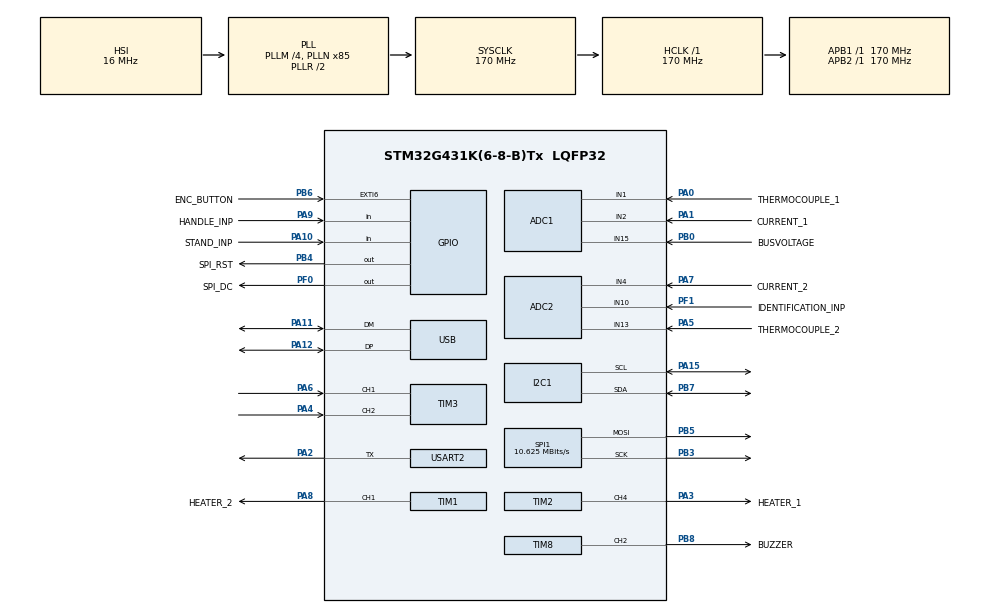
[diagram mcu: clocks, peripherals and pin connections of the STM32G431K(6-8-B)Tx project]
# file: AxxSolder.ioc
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ADC1.AWD1FilteringConfig=ADC_AWD_FILTERING_NONE
ADC1.AWD1HighThreshold=100
ADC1.AWD1ITMode=ENABLE
ADC1.Channel-0\#ChannelRegularConversion=ADC_CHANNEL_1
ADC1.Channel-1\#ChannelRegularConversion=ADC_CHANNEL_2
ADC1.Channel-2\#ChannelRegularConversion=ADC_CHANNEL_15
ADC1.ContinuousConvMode=ENABLE
ADC1.DMAContinuousRequests=ENABLE
ADC1.EnableAnalogWatchDog1=true
ADC1.NbrOfConversion=3
ADC1.NbrOfConversionFlag=1
ADC1.OffsetNumber-0\#ChannelRegularConversion=ADC_OFFSET_NONE
ADC1.OffsetNumber-1\#ChannelRegularConversion=ADC_OFFSET_NONE
ADC1.OffsetNumber-2\#ChannelRegularConversion=ADC_OFFSET_NONE
ADC1.OversamplingMode=DISABLE
ADC1.Rank-0\#ChannelRegularConversion=1
ADC1.Rank-1\#ChannelRegularConversion=2
ADC1.Rank-2\#ChannelRegularConversion=3
ADC1.SamplingTime-0\#ChannelRegularConversion=ADC_SAMPLETIME_47CYCLES_5
ADC1.SamplingTime-1\#ChannelRegularConversion=ADC_SAMPLETIME_47CYCLES_5
ADC1.SamplingTime-2\#ChannelRegularConversion=ADC_SAMPLETIME_47CYCLES_5
ADC1.WatchdogChannel=ADC_CHANNEL_2
ADC1.master=1
ADC2.Channel-0\#ChannelRegularConversion=ADC_CHANNEL_13
ADC2.NbrOfConversionFlag=1
ADC2.OffsetNumber-0\#ChannelRegularConversion=ADC_OFFSET_NONE
ADC2.Rank-0\#ChannelRegularConversion=1
ADC2.SamplingTime-0\#ChannelRegularConversion=ADC_SAMPLETIME_2CYCLES_5
Dma.ADC1.0.Direction=DMA_PERIPH_TO_MEMORY
Dma.ADC1.0.EventEnable=DISABLE
Dma.ADC1.0.Instance=DMA1_Channel1
Dma.ADC1.0.MemDataAlignment=DMA_MDATAALIGN_HALFWORD
Dma.ADC1.0.MemInc=DMA_MINC_ENABLE
Dma.ADC1.0.Mode=DMA_CIRCULAR
Dma.ADC1.0.PeriphDataAlignment=DMA_PDATAALIGN_HALFWORD
Dma.ADC1.0.PeriphInc=DMA_PINC_DISABLE
Dma.ADC1.0.Polarity=HAL_DMAMUX_REQ_GEN_RISING
Dma.ADC1.0.Priority=DMA_PRIORITY_LOW
Dma.ADC1.0.RequestNumber=1
Dma.ADC1.0.SignalID=NONE
Dma.ADC1.0.SyncEnable=DISABLE
Dma.ADC1.0.SyncPolarity=HAL_DMAMUX_SYNC_NO_EVENT
Dma.ADC1.0.SyncRequestNumber=1
Dma.ADC1.0.SyncSignalID=NONE
Dma.Request0=ADC1
I2C1.Timing=0x30A0A7FB
Mcu.Family=STM32G4
Mcu.Name=STM32G431K(6-8-B)Tx
Mcu.Package=LQFP32
NVIC.ADC1_2_IRQn=true\:0\:0\:false\:false\:true\:true\:true\:true
NVIC.DMA1_Channel1_IRQn=true\:0\:0\:false\:false\:true\:false\:true\:true
NVIC.PriorityGroup=NVIC_PRIORITYGROUP_4
NVIC.TIM1_UP_TIM16_IRQn=true\:0\:0\:false\:false\:true\:true\:true\:true
NVIC.TIM3_IRQn=true\:0\:0\:false\:false\:true\:true\:true\:true
PA0.GPIO_Label=THERMOCOUPLE_1
PA0.Mode=IN1-Single-Ended
PA0.Signal=ADC1_IN1
PA1.GPIO_Label=CURRENT_1
PA1.Mode=IN2-Single-Ended
PA1.Signal=ADC1_IN2
PA10.GPIO_Label=STAND_INP
PA10.Signal=GPIO_Input
PA11.Mode=Device
PA11.Signal=USB_DM
PA12.Mode=Device
PA12.Signal=USB_DP
PA13.GPIO_Label=T_SWDIO
PA13.Mode=Serial_Wire
PA13.Signal=SYS_JTMS-SWDIO
PA14.GPIO_Label=T_SWCLK
PA14.Mode=Serial_Wire
PA14.Signal=SYS_JTCK-SWCLK
PA15.Mode=I2C
PA15.Signal=I2C1_SCL
PA2.Mode=Half_duplex(single_wire_mode)
PA2.Signal=USART2_TX
PA3.GPIO_Label=HEATER_1
PA3.Signal=S_TIM2_CH4
PA4.Signal=S_TIM3_CH2
PA5.GPIO_Label=THERMOCOUPLE_2
PA5.Mode=IN13-Single-Ended
PA5.Signal=ADC2_IN13
PA6.Signal=S_TIM3_CH1
PA7.GPIO_Label=CURRENT_2
PA7.Mode=IN4-Single-Ended
PA7.Signal=ADC2_IN4
PA8.GPIO_Label=HEATER_2
PA8.Signal=S_TIM1_CH1
PA9.GPIO_Label=HANDLE_INP
PA9.Signal=GPIO_Input
PB0.GPIO_Label=BUSVOLTAGE
PB0.Mode=IN15-Single-Ended
PB0.Signal=ADC1_IN15
PB3.Mode=TX_Only_Simplex_Unidirect_Master
PB3.Signal=SPI1_SCK
PB4.GPIO_Label=SPI_RST
PB4.GPIO_PuPd=GPIO_NOPULL
PB4.Signal=GPIO_Output
PB5.Mode=TX_Only_Simplex_Unidirect_Master
PB5.Signal=SPI1_MOSI
PB6.GPIO_Label=ENC_BUTTON
PB6.Signal=GPXTI6
PB7.Mode=I2C
PB7.Signal=I2C1_SDA
PB8-BOOT0.GPIO_Label=BUZZER
PB8-BOOT0.Signal=S_TIM8_CH2
PF0-OSC_IN.GPIO_Label=SPI_DC
PF0-OSC_IN.Signal=GPIO_Output
PF1-OSC_OUT.GPIO_Label=IDENTIFICATION_INP
PF1-OSC_OUT.Mode=IN10-Single-Ended
PF1-OSC_OUT.Signal=ADC2_IN10
ProjectManager.HeapSize=0x200
ProjectManager.StackSize=0x400
ProjectManager.TargetToolchain=STM32CubeIDE
RCC.ADC12Freq_Value=170000000
RCC.AHBFreq_Value=170000000
RCC.APB1Freq_Value=170000000
RCC.APB1TimFreq_Value=170000000
RCC.APB2Freq_Value=170000000
RCC.APB2TimFreq_Value=170000000
RCC.CK48CLockSelection=RCC_USBCLKSOURCE_HSI48
RCC.CortexFreq_Value=170000000
RCC.EXTERNAL_CLOCK_VALUE=12288000
RCC.HCLKFreq_Value=170000000
RCC.HSE_VALUE=8000000
RCC.HSI48_VALUE=48000000
RCC.HSI_VALUE=16000000
RCC.LSE_VALUE=32768
RCC.PLLM=RCC_PLLM_DIV4
RCC.PLLN=85
RCC.SYSCLKFreq_VALUE=170000000
RCC.SYSCLKSource=RCC_SYSCLKSOURCE_PLLCLK
RCC.USBFreq_Value=48000000
RCC.VCOOutputFreq_Value=340000000
SH.S_TIM1_CH1.0=TIM1_CH1,PWM Generation1 CH1
SH.S_TIM2_CH4.0=TIM2_CH4,PWM Generation4 CH4
SH.S_TIM3_CH1.0=TIM3_CH1,Encoder_Interface
SH.S_TIM3_CH2.0=TIM3_CH2,Encoder_Interface
SH.S_TIM8_CH2.0=TIM8_CH2,PWM Generation2 CH2
SPI1.BaudRatePrescaler=SPI_BAUDRATEPRESCALER_16
SPI1.CLKPhase=SPI_PHASE_2EDGE
SPI1.CLKPolarity=SPI_POLARITY_HIGH
SPI1.CalculateBaudRate=10.625 MBits/s
SPI1.DataSize=SPI_DATASIZE_8BIT
SPI1.Direction=SPI_DIRECTION_2LINES
SPI1.Mode=SPI_MODE_MASTER
SPI1.VirtualType=VM_MASTER
TIM1.Channel-PWM\ Generation1\ CH1=TIM_CHANNEL_1
TIM16.AutoReloadPreload=TIM_AUTORELOAD_PRELOAD_ENABLE
TIM16.PeriodNoDither=10000
TIM16.Prescaler=16000-1
TIM17.AutoReloadPreload=TIM_AUTORELOAD_PRELOAD_ENABLE
TIM17.PeriodNoDither=1000
TIM17.Prescaler=9-1
TIM2.AutoReloadPreload=TIM_AUTORELOAD_PRELOAD_ENABLE
TIM2.Channel-PWM\ Generation4\ CH4=TIM_CHANNEL_4
TIM2.PeriodNoDither=100
TIM2.Prescaler=800-1
TIM3.AutoReloadPreload=TIM_AUTORELOAD_PRELOAD_ENABLE
TIM3.IC1Filter=10
TIM3.IC2Filter=10
TIM8.Channel-PWM\ Generation2\ CH2=TIM_CHANNEL_2
USART2.Mode=MODE_TX
USART2.VirtualMode-Half_duplex(single_wire_mode)=VM_ASYNC
VP_SYS_VS_DBSignals.Mode=DisableDeadBatterySignals
VP_TIM16_VS_ClockSourceINT.Mode=Enable_Timer
VP_TIM17_VS_ClockSourceINT.Mode=Enable_Timer
VP_TIM2_VS_ClockSourceINT.Mode=Internal
board=NUCLEO-G431KB

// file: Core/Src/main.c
/* USER CODE BEGIN Header */
/**
  ******************************************************************************
  * @file           : main.c
  * @brief          : Main program body
  ******************************************************************************
  * @attention
  *
  * Copyright (c) 2023 Axel Johansson
  * All rights reserved.
  *
  * This software is licensed under terms that can be found in the LICENSE file
  * in the root directory of this software component.
  * If no LICENSE file comes with this software, it is provided AS-IS.
  *
  ******************************************************************************
  */
/* USER CODE END Header */
#include "main.h"

/* USER CODE BEGIN Includes */
#include "string.h"
#include "OLED_1in5.h"
#include "test.h"
#include "pid.h"
#include "moving_average.h"
/* USER CODE END Includes */

/* USER CODE BEGIN PTD */

#define version "2.2.0"

enum handles {
	T210,
	T245
} handle;

uint8_t beep_requested = 0;							/* Bool to handle beep signal triggered by interrupt */

/* Create a new image cache */
UBYTE *black_image;
UWORD image_size = ((OLED_1in5_WIDTH%2==0)? (OLED_1in5_WIDTH/2): (OLED_1in5_WIDTH/2+1)) * OLED_1in5_HEIGHT;

/* Timing constants */
uint32_t previous_millis_display = 0;
uint32_t interval_display = 25;

uint32_t previous_millis_debug = 0;
uint32_t interval_debug = 50;

uint32_t previous_millis_PID_update = 0;
uint32_t interval_PID_update = 50;

uint32_t previous_millis_HANDLE_update = 0;
uint32_t interval_HANDLE_update = 200;

uint32_t previous_millis_heating_halted_update = 0;
uint32_t interval_heating_halted_update = 500;

uint32_t previous_millis_left_stand = 0;
uint32_t EMERGENCY_shutdown_time = 1800000; 	//30 minutes
uint32_t EMERGENCY_shutdown_temperature = 475;  //475 Deg C

/* states for runtime switch */
typedef enum {
    RUN,
	SLEEP,
	EMERGENCY_SLEEP,
	HALTED,
} mainstates;
mainstates active_state = SLEEP;

/* Custom tuning parameters */
double Kp_custom = 0;
double Ki_custom = 0;
double Kd_custom = 0;
double temperature_custom = 100;

/* PID tuning parameters */
double Kp = 0;
double Ki = 0;
double Kd = 0;

char buffer[40];								/* Buffer for UART print */
uint8_t tx_done = 1;

#define POWER_REDUCTION_FACTOR 0.12 			/* Converts power in W to correct duty cycle */
float max_power_watt = 0.0; 					/* Sets the maximum output power */

float ADC_filter_mean = 0.0; 					/* Filtered ADC reading value */
#define ADC_BUF_LEN 400
uint16_t ADC_buffer[ADC_BUF_LEN];

#define VOLTAGE_COMPENSATION 0.00648678945 		/* Constant for scaling input voltage ADC value*/

#define MIN_SELECTABLE_TEMPERTURE 20
#define MAX_SELECTABLE_TEMPERTURE 450

/* TC Compensation constants */
#define TC_COMPENSATION_X3_T210 -6.798689261365103e-09
#define TC_COMPENSATION_X2_T210 -6.084684965926526e-06
#define TC_COMPENSATION_X1_T210 0.2710175613404393
#define TC_COMPENSATION_X0_T210 25.398999666765054

#define TC_COMPENSATION_X3_T245 2.0923844111330006e-09
#define TC_COMPENSATION_X2_T245 -1.2139133328964936e-05
#define TC_COMPENSATION_X1_T245 0.11753371673595008
#define TC_COMPENSATION_X0_T245 25.051871505499836

#define AMBIENT_TEMP_COMPENSATION 0.0008058608 /* Ambient temperature compensation constant 3.3/4095 */

/* Struct to hold sensor values */
struct sensor_values_struct {
	double set_temperature;
	double actual_temperature;
	float bus_voltage;
	float pcb_temperature;
	float ambient_temperature;
	double in_stand;
	double handle_sense;
	mainstates previous_state;
	uint8_t button_pressed;
	uint8_t button_read;
};

struct sensor_values_struct sensor_values  = {.set_temperature = 0.0,
        									.actual_temperature = 0.0,
											.bus_voltage = 0.0,
											.pcb_temperature = 0.0,
											.ambient_temperature = 0.0,
											.in_stand = 0.0,
											.handle_sense  = 0.0,
											.previous_state = SLEEP,
											.button_pressed = 0,
											.button_read = 0};

double PID_output = 0.0;
double PID_setpoint = 0.0;

/* Moving average filters for sensor data */
FilterTypeDef actual_temperature_filter_struct;
FilterTypeDef ambient_temperature_filter_struct;
FilterTypeDef input_voltage_filterStruct;
FilterTypeDef stand_sense_filterStruct;
FilterTypeDef handle_sense_filterStruct;

/* USER CODE END PTD */

 ADC_HandleTypeDef hadc1;
ADC_HandleTypeDef hadc2;
DMA_HandleTypeDef hdma_adc1;

I2C_HandleTypeDef hi2c1;

SPI_HandleTypeDef hspi1;

TIM_HandleTypeDef htim1;
TIM_HandleTypeDef htim2;
TIM_HandleTypeDef htim3;
TIM_HandleTypeDef htim8;
TIM_HandleTypeDef htim16;
TIM_HandleTypeDef htim17;

UART_HandleTypeDef huart2;

PCD_HandleTypeDef hpcd_USB_FS;

void SystemClock_Config(void);
static void MX_GPIO_Init(void);
static void MX_DMA_Init(void);
static void MX_TIM2_Init(void);
static void MX_SPI1_Init(void);
static void MX_ADC1_Init(void);
static void MX_TIM17_Init(void);
static void MX_USART2_UART_Init(void);
static void MX_TIM3_Init(void);
static void MX_TIM16_Init(void);
static void MX_I2C1_Init(void);
static void MX_ADC2_Init(void);
static void MX_TIM1_Init(void);
static void MX_TIM8_Init(void);
static void MX_USB_PCD_Init(void);

/* USER CODE BEGIN 0 */

PID_TypeDef TPID;

void HAL_UART_TxCpltCallback(UART_HandleTypeDef *UartHandle){
	/* Set transmission flag: transfer complete */
	tx_done = 1;
}

/* Returns the average of 100 readings of the index+4*n value in the ADC_buffer vector */
float get_mean_ADC_reading(uint8_t index){
	ADC_filter_mean = 0;
	for(int n=index;n<400;n=n+4){
		ADC_filter_mean += ADC_buffer[n];
	}
	return ADC_filter_mean/100.0;
}

void get_bus_voltage(){
	/* Index 3 is bus Voltage */
	sensor_values.bus_voltage = Moving_Average_Compute(get_mean_ADC_reading(3), &input_voltage_filterStruct)*VOLTAGE_COMPENSATION; /* Moving average filter */
}

void get_actual_temperature(){
	/* Index 0 is bus Voltage */
	float TC_temperature_temp = Moving_Average_Compute(get_mean_ADC_reading(0), &actual_temperature_filter_struct); /* Moving average filter */
	if(handle == T210){
		sensor_values.actual_temperature = pow(TC_temperature_temp, 3)*TC_COMPENSATION_X3_T210 +
				pow(TC_temperature_temp, 2)*TC_COMPENSATION_X2_T210 + TC_temperature_temp*TC_COMPENSATION_X1_T210 + TC_COMPENSATION_X0_T210;
	}
	else if(handle == T245){
		sensor_values.actual_temperature = pow(TC_temperature_temp, 3)*TC_COMPENSATION_X3_T245 +
				pow(TC_temperature_temp, 2)*TC_COMPENSATION_X2_T245 + TC_temperature_temp*TC_COMPENSATION_X1_T245 + TC_COMPENSATION_X0_T245;
	}

	if(sensor_values.actual_temperature > 999){
		sensor_values.actual_temperature = 999;
	}
}

void get_ambient_temp(){
	//Index 2 is PCB temp
	/* Moving average filter */
	sensor_values.ambient_temperature = ((Moving_Average_Compute(get_mean_ADC_reading(2), &ambient_temperature_filter_struct)*AMBIENT_TEMP_COMPENSATION)-0.4)/0.0195;
	//• Positive slope sensor gain, offset (typical):
	//– 19.5 mV/°C, 400 mV at 0°C (TMP236-Q1) From data sheet
}

void debugPrint(UART_HandleTypeDef *huart, char _out[]){
    tx_done = 0;
	HAL_UART_Transmit_IT(huart, (uint8_t *) _out, strlen(_out));
	while(!tx_done);
}

/* Initiate OLED display */
void init_OLED(){
	OLED_1in5_Init();
	Driver_Delay_ms(500);
	OLED_1in5_Clear();

	//0.Create a new image cache
	if((black_image = (UBYTE *)malloc(image_size)) == NULL) {
		return;
	}
	Paint_NewImage(black_image, OLED_1in5_WIDTH, OLED_1in5_HEIGHT, 270, BLACK);
	Paint_SetScale(16);

	//1.Select Image
	Paint_SelectImage(black_image);
	Paint_Clear(BLACK);
	Driver_Delay_ms(200);
}

void update_OLED(){
	Paint_DrawString_EN(0, 0, " AxxSolder ", &Font16, 0x00, 0xff);
    Paint_DrawLine(0, 16, 127, 16, WHITE , 2, LINE_STYLE_SOLID);

	Paint_DrawString_EN(3, 20, "Set temp", &Font16, 0x00, 0xff);
	memset(&buffer, '\0', sizeof(buffer));
	sprintf(buffer, "%.f", sensor_values.set_temperature);
	Paint_DrawString_EN(3, 32, buffer, &Font24,  0x0, 0xff);
	Paint_DrawCircle(67, 37, 2, WHITE, 1, DRAW_FILL_EMPTY);
	Paint_DrawString_EN(70, 32, "C", &Font24,  0x0, 0xff);

	Paint_DrawString_EN(3, 58, "Act temp", &Font16, 0x00, 0xff);
	memset(&buffer, '\0', sizeof(buffer));

	if(sensor_values.actual_temperature >= 500){
		Paint_DrawString_EN(3, 70, "---", &Font24, 0x0, 0xff);
	}
	else{
		sprintf(buffer, "%.f", sensor_values.actual_temperature);
		Paint_DrawString_EN(3, 70, buffer, &Font24, 0x0, 0xff);
	}

	Paint_DrawCircle(67, 75, 2, WHITE, 1, DRAW_FILL_EMPTY);
	Paint_DrawString_EN(70, 70, "C", &Font24, 0x0, 0xff);
	Paint_DrawRectangle(1, 56, 100, 93 , WHITE, DOT_PIXEL_1X1, DRAW_FILL_EMPTY);

	Paint_DrawString_EN(0, 96, "HANDLE:", &Font12, 0x00, 0xff);
	if(handle == T210){
		Paint_DrawString_EN(60, 96, "T210", &Font12, 0x00, 0xff);
	}
	else if(handle == T245){
		Paint_DrawString_EN(60, 96, "T245", &Font12, 0x00, 0xff);
	}

	Paint_DrawString_EN(0, 109, "INPUT VOLTAGE:", &Font8, 0x00, 0xff);
	Paint_DrawString_EN(0, 118, "AMB TEMP:     POWER ->", &Font8, 0x00, 0xff);

	memset(&buffer, '\0', sizeof(buffer));
	sprintf(buffer, "%.1f", sensor_values.bus_voltage);
	Paint_DrawString_EN(75, 109, buffer, &Font8, 0x0, 0xff);

	memset(&buffer, '\0', sizeof(buffer));
	sprintf(buffer, "%.1f", sensor_values.ambient_temperature);
	Paint_DrawString_EN(45, 118, buffer, &Font8, 0x0, 0xff);

	Paint_DrawRectangle(116, 25, 128, 128, WHITE, DOT_PIXEL_1X1, DRAW_FILL_EMPTY);
	if(active_state == SLEEP || active_state == EMERGENCY_SLEEP || active_state == HALTED){
		Paint_DrawString_EN(116, 30,  "Z", &Font16, 0x00, 0xff);
		Paint_DrawString_EN(116, 50,  "z", &Font16, 0x00, 0xff);
		Paint_DrawString_EN(116, 70,  "Z", &Font16, 0x00, 0xff);
		Paint_DrawString_EN(116, 90,  "z", &Font16, 0x00, 0xff);
		Paint_DrawString_EN(116, 110, "z", &Font16, 0x00, 0xff);
	}
	else{
		Paint_DrawRectangle(116, 125-PID_output/10, 128, 128, WHITE, DOT_PIXEL_1X1, DRAW_FILL_FULL);
	}
	// Show image on page
	OLED_1in5_Display(black_image);
	Paint_Clear(BLACK);
}

/* Get encoder value (Set temp.) and limit is NOT heating_halted*/
void get_set_temperature(){
	if (TIM3->CNT <= MIN_SELECTABLE_TEMPERTURE) {TIM3->CNT = MIN_SELECTABLE_TEMPERTURE; }
	if (TIM3->CNT >= MAX_SELECTABLE_TEMPERTURE) {TIM3->CNT = MAX_SELECTABLE_TEMPERTURE; }
	sensor_values.set_temperature = TIM3->CNT;
}

/* Beep the buzzer for beep_time_ms */
void beep_ms(uint16_t beep_time_ms){
	TIM2->CCR1 = 50;
  	HAL_Delay(beep_time_ms);
  	TIM2->CCR1 = 0;
}

/* Create a beep is beep is requested */
void check_beep(){
	if(beep_requested){
		beep_ms(5);
		beep_requested = 0;
	}
}

/* Function to set state to EMERGENCY_SLEEP */
void check_emergency_shutdown(){
	/* Function to set state to EMERGENCY_SLEEP if iron is in RUN state for longer than EMERGENCY_shutdown_time */
	if(!sensor_values.previous_state == RUN  && active_state == RUN){
		previous_millis_left_stand = HAL_GetTick();
	}
	if ((sensor_values.in_stand == 0) && (HAL_GetTick() - previous_millis_left_stand >= EMERGENCY_shutdown_time) && active_state == RUN){
		active_state = EMERGENCY_SLEEP;
		beep_requested = 1;
	}
	sensor_values.previous_state = active_state;

	/* Function to set state to EMERGENCY_SLEEP if iron is over 500 deg C */
	if((sensor_values.actual_temperature > EMERGENCY_shutdown_temperature) && (active_state == RUN)){
		active_state = EMERGENCY_SLEEP;
		beep_requested = 1;
	}
}

/* Function to toggle between RUN and HALTED at each press of the encoder button */
void get_button_status(){
	if ((sensor_values.button_pressed == 1) && (sensor_values.button_read == 0)){
		sensor_values.button_read = 1;
		beep_requested = 1;
		// toggle between RUN and HALTED
		if (active_state == RUN){
			active_state = HALTED;
		}
		else if (active_state == HALTED){
			active_state = RUN;
		}
		else if (active_state == EMERGENCY_SLEEP){
			active_state = RUN;
		}
		previous_millis_heating_halted_update = HAL_GetTick();
	}
	if ((sensor_values.button_read == 1) && (HAL_GetTick()-previous_millis_heating_halted_update >= interval_heating_halted_update)){
		sensor_values.button_pressed = 0;
		sensor_values.button_read = 0;
	}
}

/* Get the status of handle in/on stand to trigger SLEEP */
void get_stand_status(){
	uint8_t stand_status;
	if(HAL_GPIO_ReadPin (GPIOA, STAND_INP_Pin) == 0){
		stand_status = 1;
	}
	else{
		stand_status = 0;
	}
	sensor_values.in_stand = Moving_Average_Compute(stand_status, &stand_sense_filterStruct); /* Moving average filter */

	/* If handle is in stand set state to SLEEP */
	if(sensor_values.in_stand > 0.5){
		active_state = SLEEP;
	}

	/* If handle is NOT in stand and state is SLEEP, change state to RUN */
	if((sensor_values.in_stand < 0.5) && (active_state == SLEEP)){
		active_state = RUN;
	}
}

/* Automatically detect handle type, T210 or T245 based on HANDLE_DETECTION_Pin, which is connected to BLUE for T210.*/
void get_handle_type(){
	uint8_t handle_status;
	if(HAL_GPIO_ReadPin (GPIOA, HANDLE_INP_Pin) == 0){
		handle_status = 1;
	}
	else{
		handle_status = 0;
	}
	sensor_values.handle_sense = Moving_Average_Compute(handle_status, &handle_sense_filterStruct); /* Moving average filter */

	/* If the handle_sense is high -> T210 handle is detected */
	if(sensor_values.handle_sense > 0.5){
		handle = T210;
		max_power_watt = 60; //60W
		Kp = 20;
		Ki = 60;
		Kd = 0.5;
	}
	/* If the handle_sense is low -> T245 Handle */
	else{
		handle = T245;
		max_power_watt = 120; //120W
		Kp = 30;
		Ki = 60;
		Kd = 1;
	}
	PID_SetTunings(&TPID, Kp, Ki, Kd); // Update PID parameters based on handle type
}

/* Called when buffer is completely filled, used for DEBUG */
//void HAL_ADC_ConvCpltCallback(ADC_HandleTypeDef* hadc) {
//    //HAL_GPIO_TogglePin(GPIOF, DEBUG_SIGNAL_A_Pin);
//}

/* Interrupts when encoder button is pressed */
void HAL_GPIO_EXTI_Callback(uint16_t GPIO_Pin){
    if(GPIO_Pin == ENC_BUTTON_Pin && !sensor_values.button_pressed){ // If The INT Source Is EXTI Line9 (A9 Pin)
    	sensor_values.button_pressed = 1;
    }
}

/* Interrupts at every encoder increment */
void HAL_TIM_IC_CaptureCallback(TIM_HandleTypeDef *htim){
	if (htim->Channel == HAL_TIM_ACTIVE_CHANNEL_1) {
		beep_requested = 1;
	}
}

/* Sets the duty cycle of timer controlling the heater */
void set_heater_duty(uint16_t dutycycle){
	TIM17->CCR1 = dutycycle;
}
/* USER CODE END 0 */

int main(void)
{

  /* MCU Configuration--------------------------------------------------------*/

  /* Reset of all peripherals, Initializes the Flash interface and the Systick. */
  HAL_Init();

  /* Configure the system clock */
  SystemClock_Config();

  /* Initialize all configured peripherals */
  MX_GPIO_Init();
  MX_DMA_Init();
  MX_TIM2_Init();
  MX_SPI1_Init();
  MX_ADC1_Init();
  MX_TIM17_Init();
  MX_USART2_UART_Init();
  MX_TIM3_Init();
  MX_TIM16_Init();
  MX_I2C1_Init();
  MX_ADC2_Init();
  MX_TIM1_Init();
  MX_TIM8_Init();
  MX_USB_PCD_Init();
  /* USER CODE BEGIN 2 */
	HAL_TIM_Encoder_Start_IT(&htim3, TIM_CHANNEL_ALL);
	HAL_TIM_PWM_Start(&htim17, TIM_CHANNEL_1);
	HAL_TIM_PWM_Start(&htim2, TIM_CHANNEL_1);
	HAL_ADCEx_Calibration_Start(&hadc1, ADC_SINGLE_ENDED);
	HAL_ADC_Start_DMA(&hadc1, (uint32_t*)ADC_buffer, ADC_BUF_LEN);	//Start ADC DMA

	Moving_Average_Init(&actual_temperature_filter_struct,5);
	Moving_Average_Init(&ambient_temperature_filter_struct,200);
	Moving_Average_Init(&input_voltage_filterStruct,200);
	Moving_Average_Init(&stand_sense_filterStruct,200);
	Moving_Average_Init(&handle_sense_filterStruct,200);

  /* USER CODE END 2 */

  /* Infinite loop */
  /* USER CODE BEGIN WHILE */

	/* Init and fill filter structures with initial values */
	set_heater_duty(0);
	for (int i = 0; i<200;i++){
		get_bus_voltage();
		get_ambient_temp();
		get_actual_temperature();
		get_handle_type();
		get_stand_status();
	}

	/* Start-up beep */
	beep_ms(10);
	HAL_Delay(100);
	beep_ms(10);

	/* Initiate OLED display */
	init_OLED();

	/* If button is pressed during startup - Show SETTINGS and allow to release button. */
	if (HAL_GPIO_ReadPin (GPIOA, ENC_BUTTON_Pin) == 0){
		Paint_DrawString_EN(0, 0, " SETTINGS ", &Font16, 0x00, 0xff);
		Paint_DrawLine(0, 16, 127, 16, WHITE , 2, LINE_STYLE_SOLID);
		OLED_1in5_Display(black_image);
		Paint_Clear(BLACK);
		HAL_Delay(1000);

		while(HAL_GPIO_ReadPin (GPIOA, ENC_BUTTON_Pin) == 1){
			Paint_DrawString_EN(0, 0, " SETTINGS ", &Font16, 0x00, 0xff);
			Paint_DrawLine(0, 16, 127, 16, WHITE , 2, LINE_STYLE_SOLID);

			Paint_DrawString_EN(3, 20, "Coming soon...", &Font12, 0x00, 0xff);
			Paint_DrawString_EN(0, 110, "Version: ", &Font12, 0x00, 0xff);
			Paint_DrawString_EN(60, 110, version, &Font12, 0x00, 0xff);

			OLED_1in5_Display(black_image);
			Paint_Clear(BLACK);
		}
	}

	/* Set initial encoder timer value */
	TIM3->CNT = 330;

	/* Startup beep */
	beep_ms(10);

	/* Initiate PID controller */
	PID(&TPID, &sensor_values.actual_temperature, &PID_output, &PID_setpoint, Kp, Ki, Kd, _PID_P_ON_E, _PID_CD_DIRECT);
	PID_SetMode(&TPID, _PID_MODE_AUTOMATIC);
	PID_SetSampleTime(&TPID, 50);
	PID_SetOutputLimits(&TPID, 0, 1000); 	// Set max and min output limit
	PID_SetILimits(&TPID, -200, 200); 		// Set max and min I limit

	while (1){
		get_stand_status();
		get_bus_voltage();
		get_handle_type();
		get_button_status();
		get_set_temperature();
		check_beep();
		check_emergency_shutdown();

		/* switch */
		switch (active_state) {
			case EMERGENCY_SLEEP: {
				PID_setpoint = 0;
				break;
			}
			case RUN: {
				PID_setpoint = sensor_values.set_temperature;
				break;
			}
			case SLEEP: {
				PID_setpoint = 0;
				break;
			}
			case HALTED: {
				PID_setpoint = 0;
				break;
			}
		}

		if(HAL_GetTick() - previous_millis_PID_update >= interval_PID_update){
			set_heater_duty(0);
			HAL_Delay(10); // Wait to let the thermocouple voltage stabilize before taking measurement
			get_actual_temperature();
			previous_millis_PID_update = HAL_GetTick();
		}

		// TUNING - ONLY USED DURING MANUAL PID TUNING
		// ----------------------------------------------
		//PID_SetTunings(&TPID, Kp_custom, Ki_custom, Kd_custom);
		//sensor_values.set_temperature = temperature_custom;
		// ----------------------------------------------

		/* Compute PID and set duty cycle */
		PID_Compute(&TPID);
		set_heater_duty(PID_output*(max_power_watt*POWER_REDUCTION_FACTOR/sensor_values.bus_voltage));

		/* Send debug information over serial */
		if(HAL_GetTick() - previous_millis_debug >= interval_debug){
			memset(&buffer, '\0', sizeof(buffer));
			sprintf(buffer, "%3.1f\t%3.1f\t%3.1f\t%3.1f\t%3.1f\t%3.1f\t%3.1f\t%3.1f\n",
					sensor_values.actual_temperature, sensor_values.set_temperature,
					PID_output/10, PID_GetPpart(&TPID)/10, PID_GetIpart(&TPID)/10, PID_GetDpart(&TPID)/10,
					sensor_values.in_stand*50, sensor_values.handle_sense*50)
					;
			debugPrint(&huart2,buffer);
			previous_millis_debug = HAL_GetTick();
		}

		/* Update display */
		if(HAL_GetTick() - previous_millis_display >= interval_display){
			get_ambient_temp();
			update_OLED();
			previous_millis_display = HAL_GetTick();
		}

    /* USER CODE END WHILE */

	}
}

void SystemClock_Config(void)
{
  RCC_OscInitTypeDef RCC_OscInitStruct = {0};
  RCC_ClkInitTypeDef RCC_ClkInitStruct = {0};

  /** Configure the main internal regulator output voltage
  */
  HAL_PWREx_ControlVoltageScaling(PWR_REGULATOR_VOLTAGE_SCALE1_BOOST);

  /** Initializes the RCC Oscillators according to the specified parameters
  * in the RCC_OscInitTypeDef structure.
  */
  RCC_OscInitStruct.OscillatorType = RCC_OSCILLATORTYPE_HSI|RCC_OSCILLATORTYPE_HSI48;
  RCC_OscInitStruct.HSIState = RCC_HSI_ON;
  RCC_OscInitStruct.HSICalibrationValue = RCC_HSICALIBRATION_DEFAULT;
  RCC_OscInitStruct.HSI48State = RCC_HSI48_ON;
  RCC_OscInitStruct.PLL.PLLState = RCC_PLL_ON;
  RCC_OscInitStruct.PLL.PLLSource = RCC_PLLSOURCE_HSI;
  RCC_OscInitStruct.PLL.PLLM = RCC_PLLM_DIV4;
  RCC_OscInitStruct.PLL.PLLN = 85;
  RCC_OscInitStruct.PLL.PLLP = RCC_PLLP_DIV2;
  RCC_OscInitStruct.PLL.PLLQ = RCC_PLLQ_DIV2;
  RCC_OscInitStruct.PLL.PLLR = RCC_PLLR_DIV2;
  if (HAL_RCC_OscConfig(&RCC_OscInitStruct) != HAL_OK)
  {
    Error_Handler();
  }

  /** Initializes the CPU, AHB and APB buses clocks
  */
  RCC_ClkInitStruct.ClockType = RCC_CLOCKTYPE_HCLK|RCC_CLOCKTYPE_SYSCLK
                              |RCC_CLOCKTYPE_PCLK1|RCC_CLOCKTYPE_PCLK2;
  RCC_ClkInitStruct.SYSCLKSource = RCC_SYSCLKSOURCE_PLLCLK;
  RCC_ClkInitStruct.AHBCLKDivider = RCC_SYSCLK_DIV1;
  RCC_ClkInitStruct.APB1CLKDivider = RCC_HCLK_DIV1;
  RCC_ClkInitStruct.APB2CLKDivider = RCC_HCLK_DIV1;

  if (HAL_RCC_ClockConfig(&RCC_ClkInitStruct, FLASH_LATENCY_4) != HAL_OK)
  {
    Error_Handler();
  }
}

static void MX_ADC1_Init(void)
{

  ADC_MultiModeTypeDef multimode = {0};
  ADC_AnalogWDGConfTypeDef AnalogWDGConfig = {0};
  ADC_ChannelConfTypeDef sConfig = {0};

  /** Common config
  */
  hadc1.Instance = ADC1;
  hadc1.Init.ClockPrescaler = ADC_CLOCK_SYNC_PCLK_DIV4;
  hadc1.Init.Resolution = ADC_RESOLUTION_12B;
  hadc1.Init.DataAlign = ADC_DATAALIGN_RIGHT;
  hadc1.Init.GainCompensation = 0;
  hadc1.Init.ScanConvMode = ADC_SCAN_ENABLE;
  hadc1.Init.EOCSelection = ADC_EOC_SINGLE_CONV;
  hadc1.Init.LowPowerAutoWait = DISABLE;
  hadc1.Init.ContinuousConvMode = ENABLE;
  hadc1.Init.NbrOfConversion = 3;
  hadc1.Init.DiscontinuousConvMode = DISABLE;
  hadc1.Init.ExternalTrigConv = ADC_SOFTWARE_START;
  hadc1.Init.ExternalTrigConvEdge = ADC_EXTERNALTRIGCONVEDGE_NONE;
  hadc1.Init.DMAContinuousRequests = ENABLE;
  hadc1.Init.Overrun = ADC_OVR_DATA_PRESERVED;
  hadc1.Init.OversamplingMode = DISABLE;
  if (HAL_ADC_Init(&hadc1) != HAL_OK)
  {
    Error_Handler();
  }

  /** Configure the ADC multi-mode
  */
  multimode.Mode = ADC_MODE_INDEPENDENT;
  if (HAL_ADCEx_MultiModeConfigChannel(&hadc1, &multimode) != HAL_OK)
  {
    Error_Handler();
  }

  /** Configure Analog WatchDog 1
  */
  AnalogWDGConfig.WatchdogNumber = ADC_ANALOGWATCHDOG_1;
  AnalogWDGConfig.WatchdogMode = ADC_ANALOGWATCHDOG_SINGLE_REG;
  AnalogWDGConfig.Channel = ADC_CHANNEL_2;
  AnalogWDGConfig.ITMode = ENABLE;
  AnalogWDGConfig.HighThreshold = 100;
  AnalogWDGConfig.LowThreshold = 0;
  AnalogWDGConfig.FilteringConfig = ADC_AWD_FILTERING_NONE;
  if (HAL_ADC_AnalogWDGConfig(&hadc1, &AnalogWDGConfig) != HAL_OK)
  {
    Error_Handler();
  }

  /** Configure Regular Channel
  */
  sConfig.Channel = ADC_CHANNEL_1;
  sConfig.Rank = ADC_REGULAR_RANK_1;
  sConfig.SamplingTime = ADC_SAMPLETIME_47CYCLES_5;
  sConfig.SingleDiff = ADC_SINGLE_ENDED;
  sConfig.OffsetNumber = ADC_OFFSET_NONE;
  sConfig.Offset = 0;
  if (HAL_ADC_ConfigChannel(&hadc1, &sConfig) != HAL_OK)
  {
    Error_Handler();
  }

  /** Configure Regular Channel
  */
  sConfig.Channel = ADC_CHANNEL_2;
  sConfig.Rank = ADC_REGULAR_RANK_2;
  if (HAL_ADC_ConfigChannel(&hadc1, &sConfig) != HAL_OK)
  {
    Error_Handler();
  }

  /** Configure Regular Channel
  */
  sConfig.Channel = ADC_CHANNEL_15;
  sConfig.Rank = ADC_REGULAR_RANK_3;
  if (HAL_ADC_ConfigChannel(&hadc1, &sConfig) != HAL_OK)
  {
    Error_Handler();
  }

}

static void MX_ADC2_Init(void)
{

  ADC_ChannelConfTypeDef sConfig = {0};

  /** Common config
  */
  hadc2.Instance = ADC2;
  hadc2.Init.ClockPrescaler = ADC_CLOCK_SYNC_PCLK_DIV4;
  hadc2.Init.Resolution = ADC_RESOLUTION_12B;
  hadc2.Init.DataAlign = ADC_DATAALIGN_RIGHT;
  hadc2.Init.GainCompensation = 0;
  hadc2.Init.ScanConvMode = ADC_SCAN_DISABLE;
  hadc2.Init.EOCSelection = ADC_EOC_SINGLE_CONV;
  hadc2.Init.LowPowerAutoWait = DISABLE;
  hadc2.Init.ContinuousConvMode = DISABLE;
  hadc2.Init.NbrOfConversion = 1;
  hadc2.Init.DiscontinuousConvMode = DISABLE;
  hadc2.Init.ExternalTrigConv = ADC_SOFTWARE_START;
  hadc2.Init.ExternalTrigConvEdge = ADC_EXTERNALTRIGCONVEDGE_NONE;
  hadc2.Init.DMAContinuousRequests = DISABLE;
  hadc2.Init.Overrun = ADC_OVR_DATA_PRESERVED;
  hadc2.Init.OversamplingMode = DISABLE;
  if (HAL_ADC_Init(&hadc2) != HAL_OK)
  {
    Error_Handler();
  }

  /** Configure Regular Channel
  */
  sConfig.Channel = ADC_CHANNEL_13;
  sConfig.Rank = ADC_REGULAR_RANK_1;
  sConfig.SamplingTime = ADC_SAMPLETIME_2CYCLES_5;
  sConfig.SingleDiff = ADC_SINGLE_ENDED;
  sConfig.OffsetNumber = ADC_OFFSET_NONE;
  sConfig.Offset = 0;
  if (HAL_ADC_ConfigChannel(&hadc2, &sConfig) != HAL_OK)
  {
    Error_Handler();
  }

}

static void MX_I2C1_Init(void)
{

  hi2c1.Instance = I2C1;
  hi2c1.Init.Timing = 0x30A0A7FB;
  hi2c1.Init.OwnAddress1 = 0;
  hi2c1.Init.AddressingMode = I2C_ADDRESSINGMODE_7BIT;
  hi2c1.Init.DualAddressMode = I2C_DUALADDRESS_DISABLE;
  hi2c1.Init.OwnAddress2 = 0;
  hi2c1.Init.OwnAddress2Masks = I2C_OA2_NOMASK;
  hi2c1.Init.GeneralCallMode = I2C_GENERALCALL_DISABLE;
  hi2c1.Init.NoStretchMode = I2C_NOSTRETCH_DISABLE;
  if (HAL_I2C_Init(&hi2c1) != HAL_OK)
  {
    Error_Handler();
  }

  /** Configure Analogue filter
  */
  if (HAL_I2CEx_ConfigAnalogFilter(&hi2c1, I2C_ANALOGFILTER_ENABLE) != HAL_OK)
  {
    Error_Handler();
  }

  /** Configure Digital filter
  */
  if (HAL_I2CEx_ConfigDigitalFilter(&hi2c1, 0) != HAL_OK)
  {
    Error_Handler();
  }

}

static void MX_SPI1_Init(void)
{

  /* SPI1 parameter configuration*/
  hspi1.Instance = SPI1;
  hspi1.Init.Mode = SPI_MODE_MASTER;
  hspi1.Init.Direction = SPI_DIRECTION_2LINES;
  hspi1.Init.DataSize = SPI_DATASIZE_8BIT;
  hspi1.Init.CLKPolarity = SPI_POLARITY_HIGH;
  hspi1.Init.CLKPhase = SPI_PHASE_2EDGE;
  hspi1.Init.NSS = SPI_NSS_SOFT;
  hspi1.Init.BaudRatePrescaler = SPI_BAUDRATEPRESCALER_16;
  hspi1.Init.FirstBit = SPI_FIRSTBIT_MSB;
  hspi1.Init.TIMode = SPI_TIMODE_DISABLE;
  hspi1.Init.CRCCalculation = SPI_CRCCALCULATION_DISABLE;
  hspi1.Init.CRCPolynomial = 7;
  hspi1.Init.CRCLength = SPI_CRC_LENGTH_DATASIZE;
  hspi1.Init.NSSPMode = SPI_NSS_PULSE_DISABLE;
  if (HAL_SPI_Init(&hspi1) != HAL_OK)
  {
    Error_Handler();
  }

}

static void MX_TIM1_Init(void)
{

  TIM_MasterConfigTypeDef sMasterConfig = {0};
  TIM_OC_InitTypeDef sConfigOC = {0};
  TIM_BreakDeadTimeConfigTypeDef sBreakDeadTimeConfig = {0};

  htim1.Instance = TIM1;
  htim1.Init.Prescaler = 0;
  htim1.Init.CounterMode = TIM_COUNTERMODE_UP;
  htim1.Init.Period = 65535;
  htim1.Init.ClockDivision = TIM_CLOCKDIVISION_DIV1;
  htim1.Init.RepetitionCounter = 0;
  htim1.Init.AutoReloadPreload = TIM_AUTORELOAD_PRELOAD_DISABLE;
  if (HAL_TIM_PWM_Init(&htim1) != HAL_OK)
  {
    Error_Handler();
  }
  sMasterConfig.MasterOutputTrigger = TIM_TRGO_RESET;
  sMasterConfig.MasterOutputTrigger2 = TIM_TRGO2_RESET;
  sMasterConfig.MasterSlaveMode = TIM_MASTERSLAVEMODE_DISABLE;
  if (HAL_TIMEx_MasterConfigSynchronization(&htim1, &sMasterConfig) != HAL_OK)
  {
    Error_Handler();
  }
  sConfigOC.OCMode = TIM_OCMODE_PWM1;
  sConfigOC.Pulse = 0;
  sConfigOC.OCPolarity = TIM_OCPOLARITY_HIGH;
  sConfigOC.OCNPolarity = TIM_OCNPOLARITY_HIGH;
  sConfigOC.OCFastMode = TIM_OCFAST_DISABLE;
  sConfigOC.OCIdleState = TIM_OCIDLESTATE_RESET;
  sConfigOC.OCNIdleState = TIM_OCNIDLESTATE_RESET;
  if (HAL_TIM_PWM_ConfigChannel(&htim1, &sConfigOC, TIM_CHANNEL_1) != HAL_OK)
  {
    Error_Handler();
  }
  sBreakDeadTimeConfig.OffStateRunMode = TIM_OSSR_DISABLE;
  sBreakDeadTimeConfig.OffStateIDLEMode = TIM_OSSI_DISABLE;
  sBreakDeadTimeConfig.LockLevel = TIM_LOCKLEVEL_OFF;
  sBreakDeadTimeConfig.DeadTime = 0;
  sBreakDeadTimeConfig.BreakState = TIM_BREAK_DISABLE;
  sBreakDeadTimeConfig.BreakPolarity = TIM_BREAKPOLARITY_HIGH;
  sBreakDeadTimeConfig.BreakFilter = 0;
  sBreakDeadTimeConfig.BreakAFMode = TIM_BREAK_AFMODE_INPUT;
  sBreakDeadTimeConfig.Break2State = TIM_BREAK2_DISABLE;
  sBreakDeadTimeConfig.Break2Polarity = TIM_BREAK2POLARITY_HIGH;
  sBreakDeadTimeConfig.Break2Filter = 0;
  sBreakDeadTimeConfig.Break2AFMode = TIM_BREAK_AFMODE_INPUT;
  sBreakDeadTimeConfig.AutomaticOutput = TIM_AUTOMATICOUTPUT_DISABLE;
  if (HAL_TIMEx_ConfigBreakDeadTime(&htim1, &sBreakDeadTimeConfig) != HAL_OK)
  {
    Error_Handler();
  }
  HAL_TIM_MspPostInit(&htim1);

}

static void MX_TIM2_Init(void)
{

  TIM_ClockConfigTypeDef sClockSourceConfig = {0};
  TIM_MasterConfigTypeDef sMasterConfig = {0};
  TIM_OC_InitTypeDef sConfigOC = {0};

  htim2.Instance = TIM2;
  htim2.Init.Prescaler = 800-1;
  htim2.Init.CounterMode = TIM_COUNTERMODE_UP;
  htim2.Init.Period = 100;
  htim2.Init.ClockDivision = TIM_CLOCKDIVISION_DIV1;
  htim2.Init.AutoReloadPreload = TIM_AUTORELOAD_PRELOAD_ENABLE;
  if (HAL_TIM_Base_Init(&htim2) != HAL_OK)
  {
    Error_Handler();
  }
  sClockSourceConfig.ClockSource = TIM_CLOCKSOURCE_INTERNAL;
  if (HAL_TIM_ConfigClockSource(&htim2, &sClockSourceConfig) != HAL_OK)
  {
    Error_Handler();
  }
  if (HAL_TIM_PWM_Init(&htim2) != HAL_OK)
  {
    Error_Handler();
  }
  sMasterConfig.MasterOutputTrigger = TIM_TRGO_RESET;
  sMasterConfig.MasterSlaveMode = TIM_MASTERSLAVEMODE_DISABLE;
  if (HAL_TIMEx_MasterConfigSynchronization(&htim2, &sMasterConfig) != HAL_OK)
  {
    Error_Handler();
  }
  sConfigOC.OCMode = TIM_OCMODE_PWM1;
  sConfigOC.Pulse = 0;
  sConfigOC.OCPolarity = TIM_OCPOLARITY_HIGH;
  sConfigOC.OCFastMode = TIM_OCFAST_DISABLE;
  if (HAL_TIM_PWM_ConfigChannel(&htim2, &sConfigOC, TIM_CHANNEL_4) != HAL_OK)
  {
    Error_Handler();
  }
  HAL_TIM_MspPostInit(&htim2);

}

static void MX_TIM3_Init(void)
{

  TIM_Encoder_InitTypeDef sConfig = {0};
  TIM_MasterConfigTypeDef sMasterConfig = {0};

  htim3.Instance = TIM3;
  htim3.Init.Prescaler = 0;
  htim3.Init.CounterMode = TIM_COUNTERMODE_UP;
  htim3.Init.Period = 65535;
  htim3.Init.ClockDivision = TIM_CLOCKDIVISION_DIV1;
  htim3.Init.AutoReloadPreload = TIM_AUTORELOAD_PRELOAD_ENABLE;
  sConfig.EncoderMode = TIM_ENCODERMODE_TI1;
  sConfig.IC1Polarity = TIM_ICPOLARITY_RISING;
  sConfig.IC1Selection = TIM_ICSELECTION_DIRECTTI;
  sConfig.IC1Prescaler = TIM_ICPSC_DIV1;
  sConfig.IC1Filter = 10;
  sConfig.IC2Polarity = TIM_ICPOLARITY_RISING;
  sConfig.IC2Selection = TIM_ICSELECTION_DIRECTTI;
  sConfig.IC2Prescaler = TIM_ICPSC_DIV1;
  sConfig.IC2Filter = 10;
  if (HAL_TIM_Encoder_Init(&htim3, &sConfig) != HAL_OK)
  {
    Error_Handler();
  }
  sMasterConfig.MasterOutputTrigger = TIM_TRGO_RESET;
  sMasterConfig.MasterSlaveMode = TIM_MASTERSLAVEMODE_DISABLE;
  if (HAL_TIMEx_MasterConfigSynchronization(&htim3, &sMasterConfig) != HAL_OK)
  {
    Error_Handler();
  }

}

static void MX_TIM8_Init(void)
{

  TIM_MasterConfigTypeDef sMasterConfig = {0};
  TIM_OC_InitTypeDef sConfigOC = {0};
  TIM_BreakDeadTimeConfigTypeDef sBreakDeadTimeConfig = {0};

  htim8.Instance = TIM8;
  htim8.Init.Prescaler = 0;
  htim8.Init.CounterMode = TIM_COUNTERMODE_UP;
  htim8.Init.Period = 65535;
  htim8.Init.ClockDivision = TIM_CLOCKDIVISION_DIV1;
  htim8.Init.RepetitionCounter = 0;
  htim8.Init.AutoReloadPreload = TIM_AUTORELOAD_PRELOAD_DISABLE;
  if (HAL_TIM_PWM_Init(&htim8) != HAL_OK)
  {
    Error_Handler();
  }
  sMasterConfig.MasterOutputTrigger = TIM_TRGO_RESET;
  sMasterConfig.MasterOutputTrigger2 = TIM_TRGO2_RESET;
  sMasterConfig.MasterSlaveMode = TIM_MASTERSLAVEMODE_DISABLE;
  if (HAL_TIMEx_MasterConfigSynchronization(&htim8, &sMasterConfig) != HAL_OK)
  {
    Error_Handler();
  }
  sConfigOC.OCMode = TIM_OCMODE_PWM1;
  sConfigOC.Pulse = 0;
  sConfigOC.OCPolarity = TIM_OCPOLARITY_HIGH;
  sConfigOC.OCNPolarity = TIM_OCNPOLARITY_HIGH;
  sConfigOC.OCFastMode = TIM_OCFAST_DISABLE;
  sConfigOC.OCIdleState = TIM_OCIDLESTATE_RESET;
  sConfigOC.OCNIdleState = TIM_OCNIDLESTATE_RESET;
  if (HAL_TIM_PWM_ConfigChannel(&htim8, &sConfigOC, TIM_CHANNEL_2) != HAL_OK)
  {
    Error_Handler();
  }
  sBreakDeadTimeConfig.OffStateRunMode = TIM_OSSR_DISABLE;
  sBreakDeadTimeConfig.OffStateIDLEMode = TIM_OSSI_DISABLE;
  sBreakDeadTimeConfig.LockLevel = TIM_LOCKLEVEL_OFF;
  sBreakDeadTimeConfig.DeadTime = 0;
  sBreakDeadTimeConfig.BreakState = TIM_BREAK_DISABLE;
  sBreakDeadTimeConfig.BreakPolarity = TIM_BREAKPOLARITY_HIGH;
  sBreakDeadTimeConfig.BreakFilter = 0;
  sBreakDeadTimeConfig.BreakAFMode = TIM_BREAK_AFMODE_INPUT;
  sBreakDeadTimeConfig.Break2State = TIM_BREAK2_DISABLE;
  sBreakDeadTimeConfig.Break2Polarity = TIM_BREAK2POLARITY_HIGH;
  sBreakDeadTimeConfig.Break2Filter = 0;
  sBreakDeadTimeConfig.Break2AFMode = TIM_BREAK_AFMODE_INPUT;
  sBreakDeadTimeConfig.AutomaticOutput = TIM_AUTOMATICOUTPUT_DISABLE;
  if (HAL_TIMEx_ConfigBreakDeadTime(&htim8, &sBreakDeadTimeConfig) != HAL_OK)
  {
    Error_Handler();
  }
  HAL_TIM_MspPostInit(&htim8);

}

static void MX_TIM16_Init(void)
{

  htim16.Instance = TIM16;
  htim16.Init.Prescaler = 16000-1;
  htim16.Init.CounterMode = TIM_COUNTERMODE_UP;
  htim16.Init.Period = 10000;
  htim16.Init.ClockDivision = TIM_CLOCKDIVISION_DIV1;
  htim16.Init.RepetitionCounter = 0;
  htim16.Init.AutoReloadPreload = TIM_AUTORELOAD_PRELOAD_ENABLE;
  if (HAL_TIM_Base_Init(&htim16) != HAL_OK)
  {
    Error_Handler();
  }

}

static void MX_TIM17_Init(void)
{

  htim17.Instance = TIM17;
  htim17.Init.Prescaler = 9-1;
  htim17.Init.CounterMode = TIM_COUNTERMODE_UP;
  htim17.Init.Period = 1000;
  htim17.Init.ClockDivision = TIM_CLOCKDIVISION_DIV1;
  htim17.Init.RepetitionCounter = 0;
  htim17.Init.AutoReloadPreload = TIM_AUTORELOAD_PRELOAD_ENABLE;
  if (HAL_TIM_Base_Init(&htim17) != HAL_OK)
  {
    Error_Handler();
  }

}

static void MX_USART2_UART_Init(void)
{

  huart2.Instance = USART2;
  huart2.Init.BaudRate = 115200;
  huart2.Init.WordLength = UART_WORDLENGTH_8B;
  huart2.Init.StopBits = UART_STOPBITS_1;
  huart2.Init.Parity = UART_PARITY_NONE;
  huart2.Init.Mode = UART_MODE_TX;
  huart2.Init.HwFlowCtl = UART_HWCONTROL_NONE;
  huart2.Init.OverSampling = UART_OVERSAMPLING_16;
  huart2.Init.OneBitSampling = UART_ONE_BIT_SAMPLE_DISABLE;
  huart2.Init.ClockPrescaler = UART_PRESCALER_DIV1;
  huart2.AdvancedInit.AdvFeatureInit = UART_ADVFEATURE_NO_INIT;
  if (HAL_HalfDuplex_Init(&huart2) != HAL_OK)
  {
    Error_Handler();
  }
  if (HAL_UARTEx_SetTxFifoThreshold(&huart2, UART_TXFIFO_THRESHOLD_1_8) != HAL_OK)
  {
    Error_Handler();
  }
  if (HAL_UARTEx_SetRxFifoThreshold(&huart2, UART_RXFIFO_THRESHOLD_1_8) != HAL_OK)
  {
    Error_Handler();
  }
  if (HAL_UARTEx_DisableFifoMode(&huart2) != HAL_OK)
  {
    Error_Handler();
  }

}

static void MX_USB_PCD_Init(void)
{

  hpcd_USB_FS.Instance = USB;
  hpcd_USB_FS.Init.dev_endpoints = 8;
  hpcd_USB_FS.Init.speed = PCD_SPEED_FULL;
  hpcd_USB_FS.Init.phy_itface = PCD_PHY_EMBEDDED;
  hpcd_USB_FS.Init.Sof_enable = DISABLE;
  hpcd_USB_FS.Init.low_power_enable = DISABLE;
  hpcd_USB_FS.Init.lpm_enable = DISABLE;
  hpcd_USB_FS.Init.battery_charging_enable = DISABLE;
  if (HAL_PCD_Init(&hpcd_USB_FS) != HAL_OK)
  {
    Error_Handler();
  }

}

static void MX_DMA_Init(void)
{

  /* DMA controller clock enable */
  __HAL_RCC_DMAMUX1_CLK_ENABLE();
  __HAL_RCC_DMA1_CLK_ENABLE();

  /* DMA interrupt init */
  /* DMA1_Channel1_IRQn interrupt configuration */
  HAL_NVIC_SetPriority(DMA1_Channel1_IRQn, 0, 0);
  HAL_NVIC_EnableIRQ(DMA1_Channel1_IRQn);

}

static void MX_GPIO_Init(void)
{
  GPIO_InitTypeDef GPIO_InitStruct = {0};

  /* GPIO Ports Clock Enable */
  __HAL_RCC_GPIOF_CLK_ENABLE();
  __HAL_RCC_GPIOA_CLK_ENABLE();
  __HAL_RCC_GPIOB_CLK_ENABLE();

  /*Configure GPIO pin Output Level */
  HAL_GPIO_WritePin(SPI_DC_GPIO_Port, SPI_DC_Pin, GPIO_PIN_RESET);

  /*Configure GPIO pin Output Level */
  HAL_GPIO_WritePin(SPI_RST_GPIO_Port, SPI_RST_Pin, GPIO_PIN_RESET);

  /*Configure GPIO pin : SPI_DC_Pin */
  GPIO_InitStruct.Pin = SPI_DC_Pin;
  GPIO_InitStruct.Mode = GPIO_MODE_OUTPUT_PP;
  GPIO_InitStruct.Pull = GPIO_NOPULL;
  GPIO_InitStruct.Speed = GPIO_SPEED_FREQ_LOW;
  HAL_GPIO_Init(SPI_DC_GPIO_Port, &GPIO_InitStruct);

  /*Configure GPIO pins : HANDLE_INP_Pin STAND_INP_Pin */
  GPIO_InitStruct.Pin = HANDLE_INP_Pin|STAND_INP_Pin;
  GPIO_InitStruct.Mode = GPIO_MODE_INPUT;
  GPIO_InitStruct.Pull = GPIO_NOPULL;
  HAL_GPIO_Init(GPIOA, &GPIO_InitStruct);

  /*Configure GPIO pin : SPI_RST_Pin */
  GPIO_InitStruct.Pin = SPI_RST_Pin;
  GPIO_InitStruct.Mode = GPIO_MODE_OUTPUT_PP;
  GPIO_InitStruct.Pull = GPIO_NOPULL;
  GPIO_InitStruct.Speed = GPIO_SPEED_FREQ_LOW;
  HAL_GPIO_Init(SPI_RST_GPIO_Port, &GPIO_InitStruct);

  /*Configure GPIO pin : ENC_BUTTON_Pin */
  GPIO_InitStruct.Pin = ENC_BUTTON_Pin;
  GPIO_InitStruct.Mode = GPIO_MODE_IT_RISING;
  GPIO_InitStruct.Pull = GPIO_NOPULL;
  HAL_GPIO_Init(ENC_BUTTON_GPIO_Port, &GPIO_InitStruct);

}

void Error_Handler(void)
{
  __disable_irq();
  while (1)
  {
  }
}
